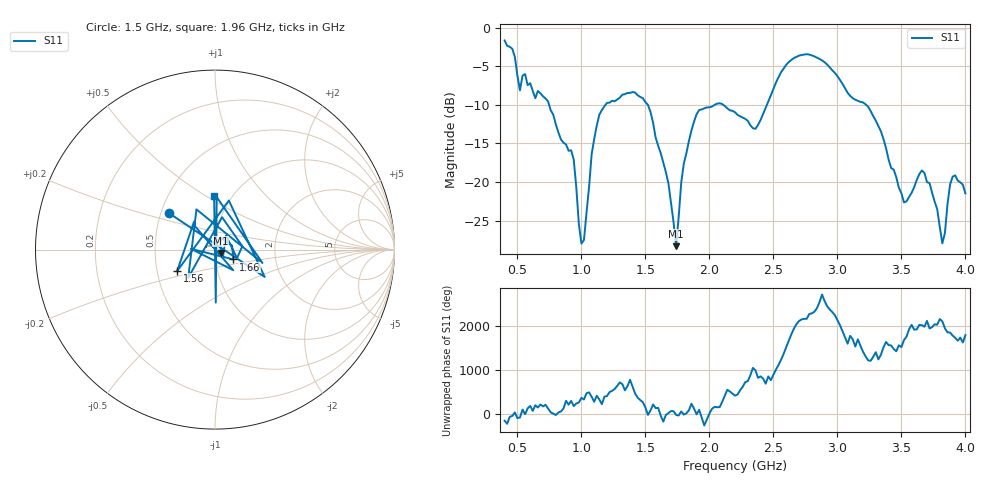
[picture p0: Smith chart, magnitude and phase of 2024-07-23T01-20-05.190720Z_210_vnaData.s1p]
!Created with skrf (http://scikit-rf.org).
# Hz S RI R 50.0
!freq ReS11 ImS11
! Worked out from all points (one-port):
!   181 points, 400 MHz to 4 GHz, reference 50 ohm
!   lowest |S11| = -28.3 dB at 1.74 GHz (marker M1), VSWR 1.08, Z = 53.4 - j2.08 ohm
!   |S11| at or under -10 dB: 747.7 MHz to 1.188 GHz (440.4 MHz wide, 45.5 % of centre); 1.52 GHz to 2.04 GHz (520.5 MHz wide, 29.2 % of centre); 3.225 GHz to end of sweep (the widest 3 of 4)
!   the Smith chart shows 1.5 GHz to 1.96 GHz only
!   S11 on the Smith chart (normalised r, x): 1.5 GHz: 0.55, +0.25; 1.56 GHz: 0.64, -0.16; 1.66 GHz: 1.22, -0.14; 1.96 GHz: 0.83, +0.55
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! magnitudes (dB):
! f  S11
! 400 MHz  -1.7
! 480 MHz  -3.8
! 520 MHz  -8.1
! 560 MHz  -6.0
! 740 MHz  -9.6
! 860 MHz  -14.9
! 940 MHz  -17.1
! 1 GHz  -28.0
! 1.14 GHz  -11.3
! 1.3 GHz  -9.1
! 1.5 GHz  -9.6
! 1.56 GHz  -12.3
! 1.66 GHz  -18.7
! 1.74 GHz  -28.3
! 1.76 GHz  -24.5
! 1.84 GHz  -14.7
! 1.96 GHz  -10.4
! 2.2 GHz  -11.0
! 2.36 GHz  -13.1
! 2.66 GHz  -3.9
! 3.1 GHz  -8.8
! 3.24 GHz  -10.2
! 3.52 GHz  -22.6
! 3.56 GHz  -21.9
! 3.68 GHz  -18.8
! 3.82 GHz  -27.9
! 3.9 GHz  -19.3
! 4 GHz  -21.5
